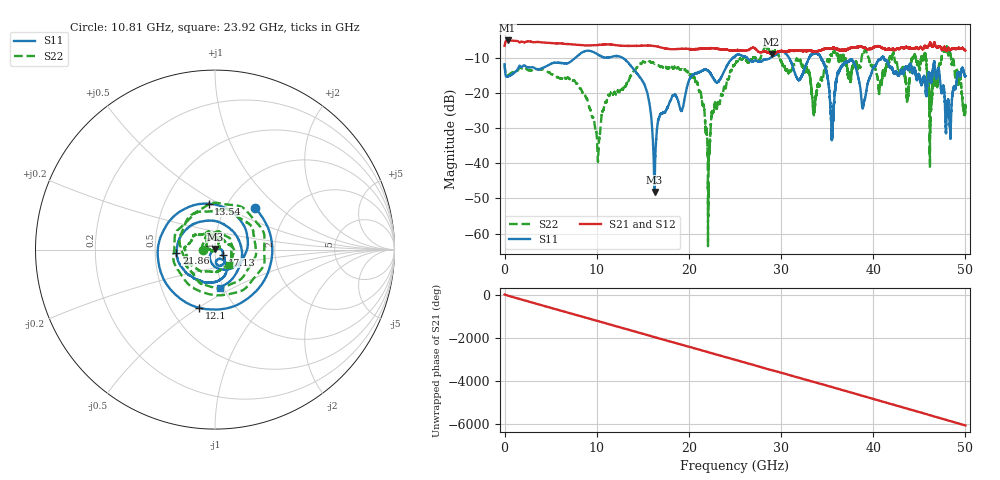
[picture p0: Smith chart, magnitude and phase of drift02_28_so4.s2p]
!Created with skrf (http://scikit-rf.org).
# Hz S RI R 50.0
!freq ReS11 ImS11 ReS21 ImS21 ReS12 ImS12 ReS22 ImS22
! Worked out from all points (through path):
!   10001 points, 300 kHz to 50 GHz, reference 50 ohm
!   highest |S21| = -5.04 dB at 325.3 MHz (marker M1); lowest = -8.9 dB at 28.98 GHz (marker M2)
!   group delay of S21, straight-line fit = 336 ps
!   lowest |S11| = -48.1 dB at 16.27 GHz (marker M3), VSWR 1.01, Z = 50 + j0.391 ohm
!   |S11| at or under -10 dB: start of sweep to 7.667 GHz; 12.82 GHz to 24.78 GHz (11.96 GHz wide, 63.6 % of centre); 41.14 GHz to end of sweep (the widest 3 of 12)
!   |S22| runs from -63.6 to -6.7 dB; largest |S21 - S12| = 0.032
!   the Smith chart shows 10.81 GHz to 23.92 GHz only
!   S11 on the Smith chart (normalised r, x): 10.81 GHz: 1.37, +0.70; 12.1 GHz: 0.69, -0.50; 13.54 GHz: 0.82, +0.45; 17.13 GHz: 1.09, -0.06; 21.86 GHz: 0.65, -0.02; 23.92 GHz: 0.96, -0.43
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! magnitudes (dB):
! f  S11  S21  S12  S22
! 300 kHz  -11.8  -6.6  -6.5  -11.8
! 325.3 MHz  -15.3  -5.0  -5.0  -15.1
! 8.335 GHz  -8.6  -6.4  -6.4  -19.1
! 10.11 GHz  -9.0  -6.3  -6.3  -38.5
! 10.81 GHz  -9.9  -6.2  -6.2  -23.7
! 12.1 GHz  -9.5  -6.4  -6.4  -20.4
! 13.54 GHz  -11.7  -6.6  -6.6  -16.0
! 16.27 GHz  -48.1  -6.7  -6.6  -11.7
! 16.67 GHz  -27.6  -6.8  -6.8  -12.2
! 17.13 GHz  -25.8  -7.2  -7.1  -12.5
! 20.73 GHz  -14.3  -7.5  -7.5  -16.9
! 21.86 GHz  -13.3  -7.3  -7.4  -31.1
! 23.92 GHz  -13.4  -7.6  -7.6  -18.7
! 25 GHz  -9.5  -7.8  -7.9  -11.9
! 28.98 GHz  -9.8  -8.9  -8.9  -8.0
! 33.34 GHz  -9.1  -8.0  -8.0  -20.3
! 35.53 GHz  -32.5  -7.4  -7.3  -9.2
! 36.8 GHz  -11.8  -7.7  -7.6  -10.4
! 41.67 GHz  -11.9  -7.4  -7.5  -11.7
! 46.26 GHz  -17.2  -6.2  -6.2  -22.3
! 48.13 GHz  -21.7  -7.2  -7.1  -9.1
! 50 GHz  -15.2  -7.9  -7.9  -23.7
